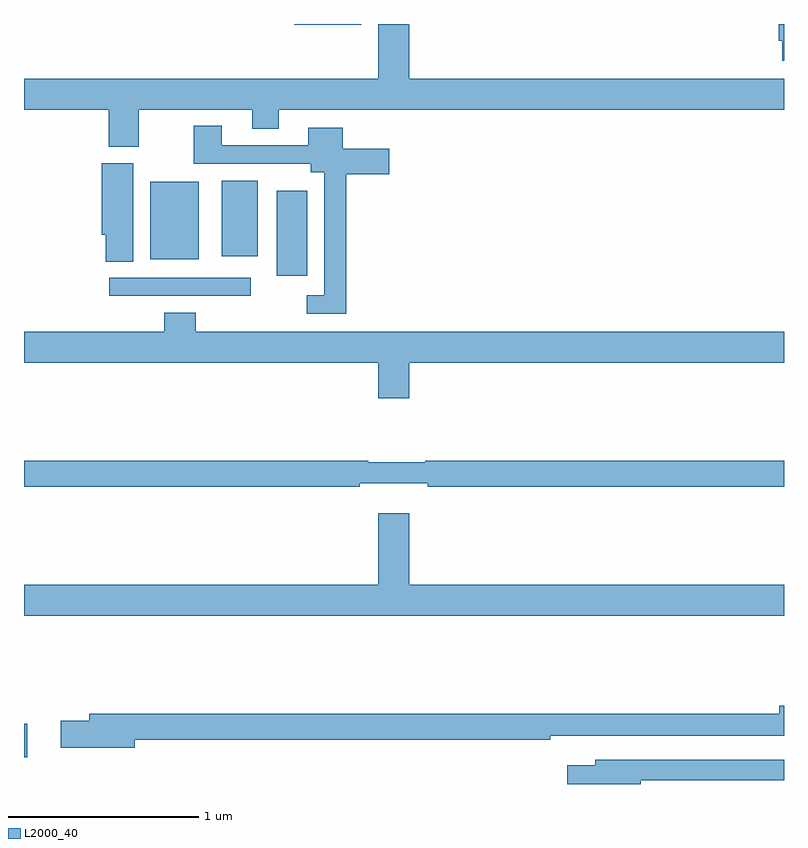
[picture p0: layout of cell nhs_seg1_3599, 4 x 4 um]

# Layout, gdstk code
import gdstk
lib = gdstk.Library(unit=1e-6, precision=1e-09)
def R(c, l, rs):  # rectangles x0, y0, x1, y1
    for r in rs: c.add(gdstk.rectangle(r[:2], r[2:], *l))
def P(c, l, *ps):  # polygons
    for p in ps: c.add(gdstk.Polygon(p, *l))
L2000_40 = (2000, 40)

nhs_seg1_3599 = lib.new_cell('nhs_seg1_3599')
R(nhs_seg1_3599, L2000_40, [(307,532.339,307.018,532.517), (307.449,534.768,308.194,534.864), (308.33,534.873,308.491,535.321), (307.664,534.962,307.921,535.369), (308.042,534.977,308.23,535.375), (308.423,536.195,308.776,536.199)])
P(nhs_seg1_3599, L2000_40, [(307.605,535.748),(308.201,535.748),(308.201,535.649),(308.341,535.649),(308.341,535.748),(311,535.748),(311,535.912),(309.028,535.912),(309.028,536.199),(308.864,536.199),(308.864,535.912),(307,535.912),(307,535.748),(307.445,535.748),(307.445,535.554),(307.605,535.554)],
  [(311,536.199),(310.972,536.199),(310.972,536.11),(310.991,536.11),(310.991,536.006),(311,536.006)],
  [(308.696,535.409),(308.923,535.409),(308.923,535.543),(308.677,535.543),(308.677,535.654),(308.495,535.654),(308.495,535.56),(308.041,535.56),(308.041,535.663),(307.894,535.663),(307.894,535.464),(308.51,535.464),(308.51,535.418),(308.58,535.418),(308.58,534.771),(308.487,534.771),(308.487,534.675),(308.696,534.675)],
  [(307.576,535.465),(307.409,535.465),(307.409,535.089),(307.43,535.089),(307.43,534.949),(307.576,534.949)],
  [(309.028,534.416),(311,534.416),(311,534.58),(307.904,534.58),(307.904,534.679),(307.739,534.679),(307.739,534.58),(307,534.58),(307,534.416),(308.864,534.416),(308.864,534.228),(309.028,534.228)],
  [(308.768,533.783),(309.124,533.783),(309.124,533.764),(311,533.764),(311,533.9),(309.112,533.9),(309.112,533.893),(308.812,533.893),(308.812,533.9),(307,533.9),(307,533.764),(308.768,533.764)],
  [(311,533.248),(309.028,533.248),(309.028,533.623),(308.864,533.623),(308.864,533.248),(307,533.248),(307,533.084),(311,533.084)],
  [(307.582,532.432),(309.77,532.432),(309.77,532.452),(311,532.452),(311,532.611),(310.976,532.611),(310.976,532.568),(307.343,532.568),(307.343,532.532),(307.194,532.532),(307.194,532.39),(307.582,532.39)],
  [(310.246,532.218),(311,532.218),(311,532.326),(310.007,532.326),(310.007,532.297),(309.858,532.297),(309.858,532.199),(310.246,532.199)])

lib.write_gds('nhs_seg1_3599.gds')
